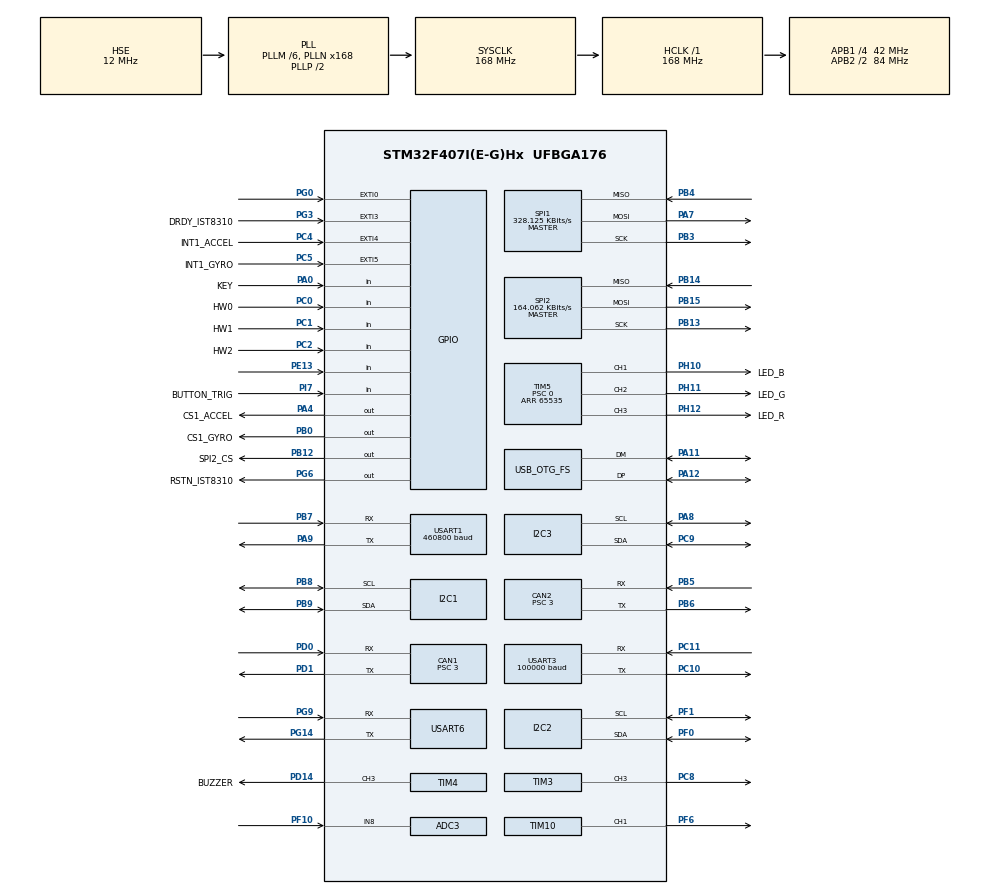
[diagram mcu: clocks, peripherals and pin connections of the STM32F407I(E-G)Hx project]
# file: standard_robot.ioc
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ADC1.Channel-1\#ChannelRegularConversion=ADC_CHANNEL_VREFINT
ADC1.ClockPrescaler=ADC_CLOCK_SYNC_PCLK_DIV6
ADC1.NbrOfConversionFlag=1
ADC1.Rank-1\#ChannelRegularConversion=1
ADC1.SamplingTime-1\#ChannelRegularConversion=ADC_SAMPLETIME_3CYCLES
ADC1.master=1
ADC3.Channel-1\#ChannelRegularConversion=ADC_CHANNEL_8
ADC3.ClockPrescaler=ADC_CLOCK_SYNC_PCLK_DIV6
ADC3.NbrOfConversionFlag=1
ADC3.Rank-1\#ChannelRegularConversion=1
ADC3.SamplingTime-1\#ChannelRegularConversion=ADC_SAMPLETIME_3CYCLES
CAN1.BS1=CAN_BS1_10TQ
CAN1.BS2=CAN_BS2_3TQ
CAN1.CalculateBaudRate=1000000
CAN1.CalculateTimeBit=999.99
CAN1.CalculateTimeQuantum=71.42857142857143
CAN1.Prescaler=3
CAN2.BS1=CAN_BS1_10TQ
CAN2.BS2=CAN_BS2_3TQ
CAN2.CalculateBaudRate=1000000
CAN2.CalculateTimeBit=999.99
CAN2.CalculateTimeQuantum=71.42857142857143
CAN2.Prescaler=3
Dma.I2C2_TX.2.Direction=DMA_MEMORY_TO_PERIPH
Dma.I2C2_TX.2.FIFOMode=DMA_FIFOMODE_DISABLE
Dma.I2C2_TX.2.Instance=DMA1_Stream7
Dma.I2C2_TX.2.MemDataAlignment=DMA_MDATAALIGN_BYTE
Dma.I2C2_TX.2.MemInc=DMA_MINC_ENABLE
Dma.I2C2_TX.2.Mode=DMA_NORMAL
Dma.I2C2_TX.2.PeriphDataAlignment=DMA_PDATAALIGN_BYTE
Dma.I2C2_TX.2.PeriphInc=DMA_PINC_DISABLE
Dma.I2C2_TX.2.Priority=DMA_PRIORITY_HIGH
Dma.Request0=SPI1_RX
Dma.Request1=SPI1_TX
Dma.Request2=I2C2_TX
Dma.Request3=USART3_RX
Dma.Request4=USART6_RX
Dma.Request5=USART6_TX
Dma.Request6=USART1_RX
Dma.SPI1_RX.0.Direction=DMA_PERIPH_TO_MEMORY
Dma.SPI1_RX.0.FIFOMode=DMA_FIFOMODE_DISABLE
Dma.SPI1_RX.0.Instance=DMA2_Stream2
Dma.SPI1_RX.0.MemDataAlignment=DMA_MDATAALIGN_BYTE
Dma.SPI1_RX.0.MemInc=DMA_MINC_ENABLE
Dma.SPI1_RX.0.Mode=DMA_NORMAL
Dma.SPI1_RX.0.PeriphDataAlignment=DMA_PDATAALIGN_BYTE
Dma.SPI1_RX.0.PeriphInc=DMA_PINC_DISABLE
Dma.SPI1_RX.0.Priority=DMA_PRIORITY_VERY_HIGH
Dma.SPI1_TX.1.Direction=DMA_MEMORY_TO_PERIPH
Dma.SPI1_TX.1.FIFOMode=DMA_FIFOMODE_DISABLE
Dma.SPI1_TX.1.Instance=DMA2_Stream3
Dma.SPI1_TX.1.MemDataAlignment=DMA_MDATAALIGN_BYTE
Dma.SPI1_TX.1.MemInc=DMA_MINC_ENABLE
Dma.SPI1_TX.1.Mode=DMA_NORMAL
Dma.SPI1_TX.1.PeriphDataAlignment=DMA_PDATAALIGN_BYTE
Dma.SPI1_TX.1.PeriphInc=DMA_PINC_DISABLE
Dma.SPI1_TX.1.Priority=DMA_PRIORITY_HIGH
Dma.USART1_RX.6.Direction=DMA_PERIPH_TO_MEMORY
Dma.USART1_RX.6.FIFOMode=DMA_FIFOMODE_DISABLE
Dma.USART1_RX.6.Instance=DMA2_Stream5
Dma.USART1_RX.6.MemDataAlignment=DMA_MDATAALIGN_BYTE
Dma.USART1_RX.6.MemInc=DMA_MINC_ENABLE
Dma.USART1_RX.6.Mode=DMA_NORMAL
Dma.USART1_RX.6.PeriphDataAlignment=DMA_PDATAALIGN_BYTE
Dma.USART1_RX.6.PeriphInc=DMA_PINC_DISABLE
Dma.USART1_RX.6.Priority=DMA_PRIORITY_MEDIUM
Dma.USART3_RX.3.Direction=DMA_PERIPH_TO_MEMORY
Dma.USART3_RX.3.FIFOMode=DMA_FIFOMODE_DISABLE
Dma.USART3_RX.3.Instance=DMA1_Stream1
Dma.USART3_RX.3.MemDataAlignment=DMA_MDATAALIGN_BYTE
Dma.USART3_RX.3.MemInc=DMA_MINC_ENABLE
Dma.USART3_RX.3.Mode=DMA_NORMAL
Dma.USART3_RX.3.PeriphDataAlignment=DMA_PDATAALIGN_BYTE
Dma.USART3_RX.3.PeriphInc=DMA_PINC_DISABLE
Dma.USART3_RX.3.Priority=DMA_PRIORITY_HIGH
Dma.USART6_RX.4.Direction=DMA_PERIPH_TO_MEMORY
Dma.USART6_RX.4.FIFOMode=DMA_FIFOMODE_DISABLE
Dma.USART6_RX.4.Instance=DMA2_Stream1
Dma.USART6_RX.4.MemDataAlignment=DMA_MDATAALIGN_BYTE
Dma.USART6_RX.4.MemInc=DMA_MINC_ENABLE
Dma.USART6_RX.4.Mode=DMA_NORMAL
Dma.USART6_RX.4.PeriphDataAlignment=DMA_PDATAALIGN_BYTE
Dma.USART6_RX.4.PeriphInc=DMA_PINC_DISABLE
Dma.USART6_RX.4.Priority=DMA_PRIORITY_HIGH
Dma.USART6_TX.5.Direction=DMA_MEMORY_TO_PERIPH
Dma.USART6_TX.5.FIFOMode=DMA_FIFOMODE_DISABLE
Dma.USART6_TX.5.Instance=DMA2_Stream6
Dma.USART6_TX.5.MemDataAlignment=DMA_MDATAALIGN_BYTE
Dma.USART6_TX.5.MemInc=DMA_MINC_ENABLE
Dma.USART6_TX.5.Mode=DMA_NORMAL
Dma.USART6_TX.5.PeriphDataAlignment=DMA_PDATAALIGN_BYTE
Dma.USART6_TX.5.PeriphInc=DMA_PINC_DISABLE
Dma.USART6_TX.5.Priority=DMA_PRIORITY_MEDIUM
FREERTOS.INCLUDE_eTaskGetState=1
FREERTOS.INCLUDE_pcTaskGetTaskName=1
FREERTOS.INCLUDE_uxTaskGetStackHighWaterMark=1
FREERTOS.INCLUDE_vTaskCleanUpResources=1
FREERTOS.INCLUDE_vTaskDelayUntil=1
FREERTOS.INCLUDE_xEventGroupSetBitFromISR=1
FREERTOS.INCLUDE_xQueueGetMutexHolder=1
FREERTOS.INCLUDE_xSemaphoreGetMutexHolder=1
FREERTOS.INCLUDE_xTaskAbortDelay=1
FREERTOS.INCLUDE_xTaskGetCurrentTaskHandle=1
FREERTOS.INCLUDE_xTaskGetHandle=1
FREERTOS.INCLUDE_xTimerPendFunctionCall=1
FREERTOS.Tasks01=example,0,128,example_task,As weak,NULL,Dynamic,NULL,NULL
FREERTOS.configTOTAL_HEAP_SIZE=24576
I2C1.I2C_Mode=I2C_Fast
I2C2.I2C_Mode=I2C_Fast
I2C3.I2C_Mode=I2C_Fast
Mcu.Family=STM32F4
Mcu.Name=STM32F407I(E-G)Hx
Mcu.Package=UFBGA176
NVIC.CAN1_RX0_IRQn=true\:6\:0\:true\:false\:true\:true\:true\:true
NVIC.CAN2_RX0_IRQn=true\:6\:0\:true\:false\:true\:true\:true\:true
NVIC.DMA1_Stream1_IRQn=true\:5\:0\:true\:false\:false\:true\:false\:true
NVIC.DMA1_Stream7_IRQn=true\:5\:0\:true\:false\:false\:true\:false\:true
NVIC.DMA2_Stream1_IRQn=true\:5\:0\:true\:false\:true\:true\:false\:true
NVIC.DMA2_Stream2_IRQn=true\:5\:0\:true\:false\:false\:true\:false\:true
NVIC.DMA2_Stream3_IRQn=true\:5\:0\:true\:false\:false\:true\:false\:true
NVIC.DMA2_Stream5_IRQn=true\:5\:0\:false\:false\:true\:true\:false\:true
NVIC.DMA2_Stream6_IRQn=true\:5\:0\:true\:false\:true\:true\:false\:true
NVIC.EXTI0_IRQn=true\:6\:0\:true\:false\:true\:true\:true\:true
NVIC.EXTI3_IRQn=true\:5\:0\:true\:false\:true\:true\:true\:true
NVIC.EXTI4_IRQn=true\:5\:0\:true\:false\:true\:true\:true\:true
NVIC.EXTI9_5_IRQn=true\:5\:0\:true\:false\:true\:true\:true\:true
NVIC.OTG_FS_IRQn=true\:5\:0\:false\:false\:true\:true\:false\:true
NVIC.PriorityGroup=NVIC_PRIORITYGROUP_4
NVIC.TIM2_IRQn=true\:5\:0\:false\:false\:true\:true\:true\:true
NVIC.TIM6_DAC_IRQn=true\:15\:0\:false\:false\:true\:false\:false\:true
NVIC.TimeBase=TIM6_DAC_IRQn
NVIC.TimeBaseIP=TIM6
NVIC.USART1_IRQn=true\:5\:0\:false\:false\:true\:true\:true\:true
NVIC.USART3_IRQn=true\:4\:0\:true\:false\:false\:false\:true\:true
NVIC.USART6_IRQn=true\:5\:0\:true\:false\:false\:true\:true\:true
PA0-WKUP.GPIO_Label=KEY
PA0-WKUP.GPIO_PuPd=GPIO_PULLUP
PA0-WKUP.Signal=GPIO_Input
PA11.Mode=Device_Only
PA11.Signal=USB_OTG_FS_DM
PA12.Mode=Device_Only
PA12.Signal=USB_OTG_FS_DP
PA13.Mode=Serial_Wire
PA13.Signal=SYS_JTMS-SWDIO
PA14.Mode=Serial_Wire
PA14.Signal=SYS_JTCK-SWCLK
PA4.GPIO_Label=CS1_ACCEL
PA4.GPIO_PuPd=GPIO_PULLUP
PA4.GPIO_Speed=GPIO_SPEED_FREQ_HIGH
PA4.PinState=GPIO_PIN_SET
PA4.Signal=GPIO_Output
PA7.GPIO_PuPd=GPIO_PULLUP
PA7.Mode=Full_Duplex_Master
PA7.Signal=SPI1_MOSI
PA8.GPIO_Pu=GPIO_PULLUP
PA8.Mode=I2C
PA8.Signal=I2C3_SCL
PA9.Mode=Asynchronous
PA9.Signal=USART1_TX
PB0.GPIO_Label=CS1_GYRO
PB0.GPIO_PuPd=GPIO_PULLUP
PB0.GPIO_Speed=GPIO_SPEED_FREQ_HIGH
PB0.PinState=GPIO_PIN_SET
PB0.Signal=GPIO_Output
PB12.GPIO_Label=SPI2_CS
PB12.GPIO_PuPd=GPIO_PULLUP
PB12.GPIO_Speed=GPIO_SPEED_FREQ_MEDIUM
PB12.PinState=GPIO_PIN_SET
PB12.Signal=GPIO_Output
PB13.GPIO_PuPd=GPIO_PULLUP
PB13.Mode=Full_Duplex_Master
PB13.Signal=SPI2_SCK
PB14.GPIO_PuPd=GPIO_PULLUP
PB14.Mode=Full_Duplex_Master
PB14.Signal=SPI2_MISO
PB15.GPIO_PuPd=GPIO_PULLUP
PB15.Mode=Full_Duplex_Master
PB15.Signal=SPI2_MOSI
PB3.GPIO_PuPd=GPIO_PULLUP
PB3.Mode=Full_Duplex_Master
PB3.Signal=SPI1_SCK
PB4.GPIO_PuPd=GPIO_PULLUP
PB4.Mode=Full_Duplex_Master
PB4.Signal=SPI1_MISO
PB5.Mode=CAN_Activate
PB5.Signal=CAN2_RX
PB6.Mode=CAN_Activate
PB6.Signal=CAN2_TX
PB7.Mode=Asynchronous
PB7.Signal=USART1_RX
PB8.GPIO_Pu=GPIO_PULLUP
PB8.Mode=I2C
PB8.Signal=I2C1_SCL
PB9.GPIO_Pu=GPIO_PULLUP
PB9.Mode=I2C
PB9.Signal=I2C1_SDA
PC0.GPIO_Label=HW0
PC0.Signal=GPIO_Input
PC1.GPIO_Label=HW1
PC1.Signal=GPIO_Input
PC10.Mode=Asynchronous
PC10.Signal=USART3_TX
PC11.Mode=Asynchronous
PC11.Signal=USART3_RX
PC2.GPIO_Label=HW2
PC2.Signal=GPIO_Input
PC4.GPIO_Label=INT1_ACCEL
PC4.GPIO_ModeDefaultEXTI=GPIO_MODE_IT_FALLING
PC4.GPIO_PuPd=GPIO_PULLUP
PC4.Signal=GPXTI4
PC5.GPIO_Label=INT1_GYRO
PC5.GPIO_ModeDefaultEXTI=GPIO_MODE_IT_FALLING
PC5.GPIO_PuPd=GPIO_PULLUP
PC5.Signal=GPXTI5
PC8.Signal=S_TIM3_CH3
PC9.GPIO_Pu=GPIO_PULLUP
PC9.Mode=I2C
PC9.Signal=I2C3_SDA
PD0.Mode=CAN_Activate
PD0.Signal=CAN1_RX
PD1.Mode=CAN_Activate
PD1.Signal=CAN1_TX
PD14.GPIO_Label=BUZZER
PD14.GPIO_PuPd=GPIO_PULLUP
PD14.GPIO_Speed=GPIO_SPEED_FREQ_VERY_HIGH
PD14.Signal=S_TIM4_CH3
PE13.GPIO_PuPd=GPIO_PULLUP
PE13.Signal=GPIO_Input
PF0.GPIO_Pu=GPIO_PULLUP
PF0.Mode=I2C
PF0.Signal=I2C2_SDA
PF1.GPIO_Pu=GPIO_PULLUP
PF1.Mode=I2C
PF1.Signal=I2C2_SCL
PF10.Mode=IN8
PF10.Signal=ADC3_IN8
PF6.Signal=S_TIM10_CH1
PG0.GPIO_ModeDefaultEXTI=GPIO_MODE_IT_FALLING
PG0.GPIO_PuPd=GPIO_PULLUP
PG0.Signal=GPXTI0
PG14.Mode=Asynchronous
PG14.Signal=USART6_TX
PG3.GPIO_Label=DRDY_IST8310
PG3.GPIO_ModeDefaultEXTI=GPIO_MODE_IT_FALLING
PG3.GPIO_PuPd=GPIO_PULLUP
PG3.Signal=GPXTI3
PG6.GPIO_Label=RSTN_IST8310
PG6.GPIO_PuPd=GPIO_PULLUP
PG6.GPIO_Speed=GPIO_SPEED_FREQ_MEDIUM
PG6.PinState=GPIO_PIN_SET
PG6.Signal=GPIO_Output
PG9.Mode=Asynchronous
PG9.Signal=USART6_RX
PH0-OSC_IN.Mode=HSE-External-Oscillator
PH0-OSC_IN.Signal=RCC_OSC_IN
PH1-OSC_OUT.Mode=HSE-External-Oscillator
PH1-OSC_OUT.Signal=RCC_OSC_OUT
PH10.GPIO_Label=LED_B
PH10.GPIO_PuPd=GPIO_PULLUP
PH10.GPIO_Speed=GPIO_SPEED_FREQ_HIGH
PH10.Signal=S_TIM5_CH1
PH11.GPIO_Label=LED_G
PH11.GPIO_PuPd=GPIO_PULLUP
PH11.GPIO_Speed=GPIO_SPEED_FREQ_HIGH
PH11.Signal=S_TIM5_CH2
PH12.GPIO_Label=LED_R
PH12.GPIO_PuPd=GPIO_PULLUP
PH12.GPIO_Speed=GPIO_SPEED_FREQ_HIGH
PH12.Signal=S_TIM5_CH3
PI7.GPIO_Label=BUTTON_TRIG
PI7.GPIO_PuPd=GPIO_PULLUP
PI7.Signal=GPIO_Input
ProjectManager.HeapSize=0x2000
ProjectManager.StackSize=0x2000
ProjectManager.TargetToolchain=STM32CubeIDE
RCC.48MHZClocksFreq_Value=48000000
RCC.AHBFreq_Value=168000000
RCC.APB1CLKDivider=RCC_HCLK_DIV4
RCC.APB1Freq_Value=42000000
RCC.APB1TimFreq_Value=84000000
RCC.APB2CLKDivider=RCC_HCLK_DIV2
RCC.APB2Freq_Value=84000000
RCC.APB2TimFreq_Value=168000000
RCC.CortexFreq_Value=168000000
RCC.HCLKFreq_Value=168000000
RCC.HSE_VALUE=12000000
RCC.HSI_VALUE=16000000
RCC.LSE_VALUE=32768
RCC.PLLM=6
RCC.PLLN=168
RCC.PLLQ=7
RCC.RCC_RTC_Clock_SourceVirtual=RCC_RTCCLKSOURCE_HSE_DIV30
RCC.RCC_RTC_Clock_Source_FROM_HSE=RCC_RTCCLKSOURCE_HSE_DIV30
RCC.SYSCLKFreq_VALUE=168000000
RCC.SYSCLKSource=RCC_SYSCLKSOURCE_PLLCLK
RCC.VCOOutputFreq_Value=336000000
RTC.AsynchPrediv=124
RTC.SynchPrediv=3199
SH.S_TIM10_CH1.0=TIM10_CH1,PWM Generation1 CH1
SH.S_TIM3_CH3.0=TIM3_CH3,PWM Generation3 CH3
SH.S_TIM4_CH3.0=TIM4_CH3,PWM Generation3 CH3
SH.S_TIM5_CH1.0=TIM5_CH1,PWM Generation1 CH1
SH.S_TIM5_CH2.0=TIM5_CH2,PWM Generation2 CH2
SH.S_TIM5_CH3.0=TIM5_CH3,PWM Generation3 CH3
SPI1.BaudRatePrescaler=SPI_BAUDRATEPRESCALER_256
SPI1.CLKPhase=SPI_PHASE_2EDGE
SPI1.CLKPolarity=SPI_POLARITY_HIGH
SPI1.CalculateBaudRate=328.125 KBits/s
SPI1.Direction=SPI_DIRECTION_2LINES
SPI1.Mode=SPI_MODE_MASTER
SPI1.VirtualType=VM_MASTER
SPI2.BaudRatePrescaler=SPI_BAUDRATEPRESCALER_256
SPI2.CLKPhase=SPI_PHASE_2EDGE
SPI2.CLKPolarity=SPI_POLARITY_HIGH
SPI2.CalculateBaudRate=164.062 KBits/s
SPI2.Direction=SPI_DIRECTION_2LINES
SPI2.Mode=SPI_MODE_MASTER
SPI2.VirtualType=VM_MASTER
STMicroelectronics.X-CUBE-ALGOBUILD.1.4.0.LibraryCcDSPOoLibraryJjDSPOoLibrary=true
TIM10.Channel=TIM_CHANNEL_1
TIM10.Period=4999
TIM2.AutoReloadPreload=TIM_AUTORELOAD_PRELOAD_ENABLE
TIM2.Period=10 - 1
TIM2.Prescaler=8400 - 1
TIM3.Channel-PWM\ Generation3\ CH3=TIM_CHANNEL_3
TIM3.Period=8399
TIM4.Channel-PWM\ Generation3\ CH3=TIM_CHANNEL_3
TIM4.Period=65535
TIM4.Prescaler=167
TIM5.Channel-PWM\ Generation1\ CH1=TIM_CHANNEL_1
TIM5.Channel-PWM\ Generation2\ CH2=TIM_CHANNEL_2
TIM5.Channel-PWM\ Generation3\ CH3=TIM_CHANNEL_3
TIM5.Period=65535
TIM5.Prescaler=0
USART1.BaudRate=460800
USART1.VirtualMode=VM_ASYNC
USART3.BaudRate=100000
USART3.Parity=PARITY_EVEN
USART3.VirtualMode=VM_ASYNC
USART6.VirtualMode=VM_ASYNC
USB_DEVICE.CLASS_NAME_FS=CDC
USB_DEVICE.VirtualMode-CDC_FS=Cdc
USB_DEVICE.VirtualModeFS=Cdc_FS
USB_OTG_FS.VirtualMode=Device_Only
VP_ADC1_TempSens_Input.Mode=IN-TempSens
VP_ADC1_Vref_Input.Mode=IN-Vrefint
VP_CRC_VS_CRC.Mode=CRC_Activate
VP_FREERTOS_VS_CMSIS_V1.Mode=CMSIS_V1
VP_RNG_VS_RNG.Mode=RNG_Activate
VP_RTC_VS_RTC_Activate.Mode=RTC_Enabled
VP_STMicroelectronics.X-CUBE-ALGOBUILD_VS_DSPOoLibraryJjLibrary_1.4.0_1.4.0.Mode=DSPOoLibraryJjLibrary
VP_SYS_VS_tim6.Mode=TIM6
VP_TIM10_VS_ClockSourceINT.Mode=Enable_Timer
VP_TIM2_VS_ClockSourceINT.Mode=Internal
VP_TIM3_VS_ClockSourceINT.Mode=Internal
VP_TIM4_VS_ClockSourceINT.Mode=Internal
VP_TIM5_VS_ClockSourceINT.Mode=Internal
VP_USB_DEVICE_VS_USB_DEVICE_CDC_FS.Mode=CDC_FS
board=custom

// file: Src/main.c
/* USER CODE BEGIN Header */
/**
  ******************************************************************************
  * @file           : main.c
  * @brief          : Main program body
  ******************************************************************************
  * @attention
  *
  * <h2><center>&copy; Copyright (c) 2019 STMicroelectronics.
  * All rights reserved.</center></h2>
  *
  * This software component is licensed by ST under Ultimate Liberty license
  * SLA0044, the "License"; You may not use this file except in compliance with
  * the License. You may obtain a copy of the License at:
  *                             www.st.com/SLA0044
  *
  ******************************************************************************
  */
/* USER CODE END Header */
#include "main.h"
#include "cmsis_os.h"
#include "adc.h"
#include "can.h"
#include "crc.h"
#include "dma.h"
#include "i2c.h"
#include "rng.h"
#include "rtc.h"
#include "spi.h"
#include "tim.h"
#include "usart.h"
#include "usb_device.h"
#include "gpio.h"

/* USER CODE BEGIN Includes */
#include "bsp_can.h"
#include "bsp_delay.h"
#include "bsp_usart.h"
#include "remote_control.h"
#include "calibrate_task.h"
#include "detect_task.h"
#include "gimbal_task.h"
#include "INS_task.h"
#include "led_flow_task.h"
#include "referee_usart_task.h"
#include "usb_task.h"
#include "auto_shoot_new.h"
#include "bsp_laser.h"
#include "dm_imu_l1.h"
/* USER CODE END Includes */

/* USER CODE BEGIN PV */

static uint8_t  dm_imu_get_step = 0;

/* USER CODE END PV */

void SystemClock_Config(void);
void MX_FREERTOS_Init(void);

int main(void)
{

  /* MCU Configuration--------------------------------------------------------*/

  /* Reset of all peripherals, Initializes the Flash interface and the Systick. */
  HAL_Init();

  /* Configure the system clock */
  SystemClock_Config();

  /* Initialize all configured peripherals */
  MX_GPIO_Init();
  MX_DMA_Init();
  MX_CAN1_Init();
  MX_CAN2_Init();
  MX_I2C1_Init();
  MX_SPI1_Init();
  MX_TIM4_Init();
  MX_TIM5_Init();
  MX_USART3_UART_Init();
  MX_CRC_Init();
  MX_RNG_Init();
  MX_I2C2_Init();
  MX_I2C3_Init();
  MX_RTC_Init();
  MX_SPI2_Init();
  MX_USART1_UART_Init();
  MX_USART6_UART_Init();
  MX_TIM10_Init();
  MX_ADC1_Init();
  MX_ADC3_Init();
  MX_TIM3_Init();
  MX_TIM2_Init();
  /* USER CODE BEGIN 2 */
  //开启激光
    HAL_TIM_PWM_Start(&htim3,TIM_CHANNEL_3);
    laser_on();
    //虚拟串口初始化
    MX_USB_DEVICE_Init();
    //初始化延时
    delay_init();
    //遥控器初始校准
    can_filter_init();
    cali_param_init();
    //遥控器控制初始化
    remote_control_init();
    //自瞄初始化
    AUTO_init();
    // 启动定时器2中断
    //外置imu使用
    HAL_TIM_Base_Start_IT(&htim2);

  /* USER CODE END 2 */

  /* Call init function for freertos objects (in freertos.c) */
  MX_FREERTOS_Init();
  /* Start scheduler */
  osKernelStart();

  /* We should never get here as control is now taken by the scheduler */
  /* Infinite loop */
    while (1)
    {

    }
}

void SystemClock_Config(void)
{
  RCC_OscInitTypeDef RCC_OscInitStruct = {0};
  RCC_ClkInitTypeDef RCC_ClkInitStruct = {0};

  /** Configure the main internal regulator output voltage
  */
  __HAL_RCC_PWR_CLK_ENABLE();
  __HAL_PWR_VOLTAGESCALING_CONFIG(PWR_REGULATOR_VOLTAGE_SCALE1);
  /** Initializes the RCC Oscillators according to the specified parameters
  * in the RCC_OscInitTypeDef structure.
  */
  RCC_OscInitStruct.OscillatorType = RCC_OSCILLATORTYPE_HSE;
  RCC_OscInitStruct.HSEState = RCC_HSE_ON;
  RCC_OscInitStruct.PLL.PLLState = RCC_PLL_ON;
  RCC_OscInitStruct.PLL.PLLSource = RCC_PLLSOURCE_HSE;
  RCC_OscInitStruct.PLL.PLLM = 6;
  RCC_OscInitStruct.PLL.PLLN = 168;
  RCC_OscInitStruct.PLL.PLLP = RCC_PLLP_DIV2;
  RCC_OscInitStruct.PLL.PLLQ = 7;
  if (HAL_RCC_OscConfig(&RCC_OscInitStruct) != HAL_OK)
  {
    Error_Handler();
  }
  /** Initializes the CPU, AHB and APB buses clocks
  */
  RCC_ClkInitStruct.ClockType = RCC_CLOCKTYPE_HCLK|RCC_CLOCKTYPE_SYSCLK
                              |RCC_CLOCKTYPE_PCLK1|RCC_CLOCKTYPE_PCLK2;
  RCC_ClkInitStruct.SYSCLKSource = RCC_SYSCLKSOURCE_PLLCLK;
  RCC_ClkInitStruct.AHBCLKDivider = RCC_SYSCLK_DIV1;
  RCC_ClkInitStruct.APB1CLKDivider = RCC_HCLK_DIV4;
  RCC_ClkInitStruct.APB2CLKDivider = RCC_HCLK_DIV2;

  if (HAL_RCC_ClockConfig(&RCC_ClkInitStruct, FLASH_LATENCY_5) != HAL_OK)
  {
    Error_Handler();
  }
}

void HAL_TIM_PeriodElapsedCallback(TIM_HandleTypeDef *htim)
{
  if (htim->Instance == TIM6) {
    HAL_IncTick();
  }
  /* USER CODE BEGIN Callback 1 */
    if (htim->Instance == TIM2) {
        switch (dm_imu_get_step) {
            case 0:
                DM_imu_l1_get_angle(&hcan2, DM_IMU1_CAN_ID);
                break;
            case 1:
                DM_imu_l1_get_gyro(&hcan2, DM_IMU1_CAN_ID);
                break;
            case 2:
                DM_imu_l1_get_accel(&hcan2, DM_IMU1_CAN_ID);
                break;
            case 3:
                DM_imu_l1_get_quaternion(&hcan2, DM_IMU1_CAN_ID);
            default:
                break;
        }
        dm_imu_get_step = (dm_imu_get_step + 1) % 4;
    }

  /* USER CODE END Callback 1 */
}

void Error_Handler(void)
{
}

/************************ (C) COPYRIGHT STMicroelectronics *****END OF FILE****/

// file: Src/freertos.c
/* USER CODE BEGIN Header */
/**
  ******************************************************************************
  * File Name          : freertos.c
  * Description        : Code for freertos applications
  ******************************************************************************
  * @attention
  *
  * <h2><center>&copy; Copyright (c) 2019 STMicroelectronics.
  * All rights reserved.</center></h2>
  *
  * This software component is licensed by ST under Ultimate Liberty license
  * SLA0044, the "License"; You may not use this file except in compliance with
  * the License. You may obtain a copy of the License at:
  *                             www.st.com/SLA0044
  *
  ******************************************************************************
  */
/* USER CODE END Header */

#include "FreeRTOS.h"
#include "task.h"
#include "main.h"
#include "cmsis_os.h"

/* USER CODE BEGIN Includes */

#include "calibrate_task.h"
#include "detect_task.h"
#include "gimbal_task.h"
#include "INS_task.h"
#include "led_flow_task.h"
#include "referee_usart_task.h"
#include "usb_task.h"
#include "auto_shoot_new.h"
#include "sys_id_task.h"
/* USER CODE END Includes */

/* USER CODE BEGIN PTD */

osThreadId calibrate_tast_handle;
osThreadId detect_handle;
osThreadId gimbalTaskHandle;
osThreadId imuTaskHandle;
osThreadId led_RGB_flow_handle;
osThreadId referee_usart_task_handle;
osThreadId usb_task_handle;
osThreadId AUTO_taskHandle;
osThreadId sysIdTaskHandle;

/* USER CODE END PTD */

osThreadId exampleHandle;

void example_task(void const * argument);

extern void MX_USB_DEVICE_Init(void);
void MX_FREERTOS_Init(void); /* (MISRA C 2004 rule 8.1) */

/* GetIdleTaskMemory prototype (linked to static allocation support) */
void vApplicationGetIdleTaskMemory( StaticTask_t **ppxIdleTaskTCBBuffer, StackType_t **ppxIdleTaskStackBuffer, uint32_t *pulIdleTaskStackSize );

/* GetTimerTaskMemory prototype (linked to static allocation support) */
void vApplicationGetTimerTaskMemory( StaticTask_t **ppxTimerTaskTCBBuffer, StackType_t **ppxTimerTaskStackBuffer, uint32_t *pulTimerTaskStackSize );

/* USER CODE BEGIN GET_IDLE_TASK_MEMORY */
static StaticTask_t xIdleTaskTCBBuffer;
static StackType_t xIdleStack[configMINIMAL_STACK_SIZE];

void vApplicationGetIdleTaskMemory( StaticTask_t **ppxIdleTaskTCBBuffer, StackType_t **ppxIdleTaskStackBuffer, uint32_t *pulIdleTaskStackSize )
{
    *ppxIdleTaskTCBBuffer = &xIdleTaskTCBBuffer;
    *ppxIdleTaskStackBuffer = &xIdleStack[0];
    *pulIdleTaskStackSize = configMINIMAL_STACK_SIZE;
    /* place for user code */
}
/* USER CODE END GET_IDLE_TASK_MEMORY */

/* USER CODE BEGIN GET_TIMER_TASK_MEMORY */
static StaticTask_t xTimerTaskTCBBuffer;
static StackType_t xTimerStack[configTIMER_TASK_STACK_DEPTH];

void vApplicationGetTimerTaskMemory( StaticTask_t **ppxTimerTaskTCBBuffer, StackType_t **ppxTimerTaskStackBuffer, uint32_t *pulTimerTaskStackSize )
{
    *ppxTimerTaskTCBBuffer = &xTimerTaskTCBBuffer;
    *ppxTimerTaskStackBuffer = &xTimerStack[0];
    *pulTimerTaskStackSize = configTIMER_TASK_STACK_DEPTH;
    /* place for user code */
}
/* USER CODE END GET_TIMER_TASK_MEMORY */

void MX_FREERTOS_Init(void) {

  /* Create the thread(s) */
  /* definition and creation of example */
  osThreadDef(example, example_task, osPriorityNormal, 0, 128);
  exampleHandle = osThreadCreate(osThread(example), NULL);

  /* USER CODE BEGIN RTOS_THREADS */
    /* add threads, ... */
    osThreadDef(cali, calibrate_task, osPriorityNormal, 0, 512);
    calibrate_tast_handle = osThreadCreate(osThread(cali), NULL);

//    osThreadDef(DETECT, detect_task, osPriorityNormal, 0, 128);
//    detect_handle = osThreadCreate(osThread(DETECT), NULL);

    osThreadDef(gimbalTask, gimbal_task, osPriorityHigh, 0, 512);
    gimbalTaskHandle = osThreadCreate(osThread(gimbalTask), NULL);

    osThreadDef(imuTask, INS_task, osPriorityRealtime, 0, 1024);
    imuTaskHandle = osThreadCreate(osThread(imuTask), NULL);

    osThreadDef(led, led_RGB_flow_task, osPriorityNormal, 0, 256);
    led_RGB_flow_handle = osThreadCreate(osThread(led), NULL);

    osThreadDef(REFEREE, referee_usart_task, osPriorityNormal, 0, 128);
    referee_usart_task_handle = osThreadCreate(osThread(REFEREE), NULL);

//    osThreadDef(USBTask, usb_task, osPriorityNormal, 0, 128);
//    usb_task_handle = osThreadCreate(osThread(USBTask), NULL);

    osThreadDef(AUTO_task, auto_task, osPriorityAboveNormal, 0, 256);
    AUTO_taskHandle = osThreadCreate(osThread(AUTO_task), NULL);

//    osThreadDef(sysIdTask, sys_id_task, osPriorityHigh, 0, 1024);
//    sysIdTaskHandle = osThreadCreate(osThread(sysIdTask), NULL);

  /* USER CODE END RTOS_THREADS */

}

__weak void example_task(void const * argument)
{
  /* init code for USB_DEVICE */
  MX_USB_DEVICE_Init();
    for(;;)
    {
        osDelay(1);
    }
}

/************************ (C) COPYRIGHT STMicroelectronics *****END OF FILE****/
